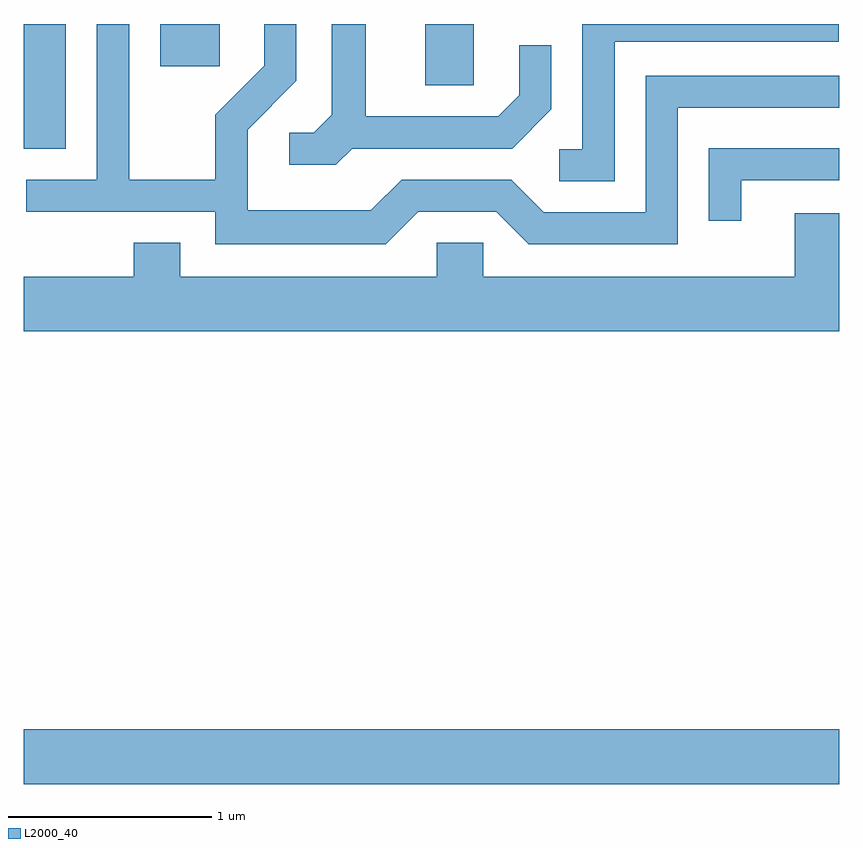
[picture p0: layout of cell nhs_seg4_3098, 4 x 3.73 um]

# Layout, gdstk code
import gdstk
lib = gdstk.Library(unit=1e-6, precision=1e-09)
def R(c, l, rs):  # rectangles x0, y0, x1, y1
    for r in rs: c.add(gdstk.rectangle(r[:2], r[2:], *l))
def P(c, l, *ps):  # polygons
    for p in ps: c.add(gdstk.Polygon(p, *l))
L2000_40 = (2000, 40)

nhs_seg4_3098 = lib.new_cell('nhs_seg4_3098')
R(nhs_seg4_3098, L2000_40, [(275.611,1330.256,279.611,1330.524), (275.611,1333.371,275.819,1333.982), (277.581,1333.681,277.819,1333.982), (276.281,1333.776,276.574,1333.982)])
P(nhs_seg4_3098, L2000_40, [(278.509,1333.896),(279.608,1333.896),(279.608,1333.982),(278.351,1333.982),(278.351,1333.369),(278.238,1333.369),(278.238,1333.211),(278.509,1333.211)],
  [(277.547,1333.061),(277.929,1333.061),(278.089,1332.901),(278.819,1332.901),(278.819,1333.571),(279.611,1333.571),(279.611,1333.729),(278.661,1333.729),(278.661,1333.059),(278.162,1333.059),(278.002,1333.219),(277.464,1333.219),(277.314,1333.069),(276.709,1333.069),(276.709,1333.464),(276.949,1333.704),(276.949,1333.982),(276.791,1333.982),(276.791,1333.777),(276.551,1333.537),(276.551,1333.219),(276.129,1333.219),(276.129,1333.982),(275.971,1333.982),(275.971,1333.219),(275.623,1333.219),(275.623,1333.061),(276.551,1333.061),(276.551,1332.901),(277.387,1332.901)],
  [(277.222,1333.371),(278.007,1333.371),(278.199,1333.564),(278.199,1333.878),(278.041,1333.878),(278.041,1333.632),(277.939,1333.529),(277.289,1333.529),(277.289,1333.982),(277.121,1333.982),(277.121,1333.537),(277.034,1333.449),(276.913,1333.449),(276.913,1333.291),(277.142,1333.291)],
  [(279.129,1333.216),(279.611,1333.216),(279.611,1333.374),(278.971,1333.374),(278.971,1333.018),(279.129,1333.018)],
  [(279.611,1333.054),(279.391,1333.054),(279.391,1332.744),(277.864,1332.744),(277.864,1332.909),(277.636,1332.909),(277.636,1332.744),(276.379,1332.744),(276.379,1332.909),(276.151,1332.909),(276.151,1332.744),(275.611,1332.744),(275.611,1332.476),(279.611,1332.476)])

lib.write_gds('nhs_seg4_3098.gds')
